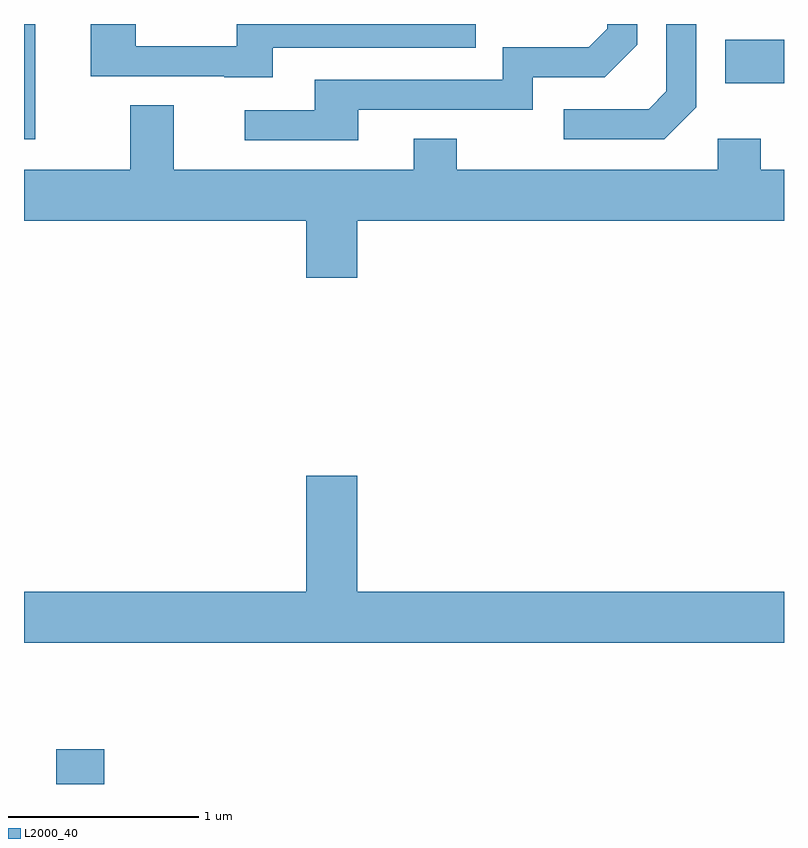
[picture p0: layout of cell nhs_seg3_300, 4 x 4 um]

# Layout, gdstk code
import gdstk
lib = gdstk.Library(unit=1e-6, precision=1e-09)
def R(c, l, rs):  # rectangles x0, y0, x1, y1
    for r in rs: c.add(gdstk.rectangle(r[:2], r[2:], *l))
def P(c, l, *ps):  # polygons
    for p in ps: c.add(gdstk.Polygon(p, *l))
L2000_40 = (2000, 40)

nhs_seg3_300 = lib.new_cell('nhs_seg3_300')
R(nhs_seg3_300, L2000_40, [(193.781,1171.892,194.034,1172.074), (193.611,1175.286,193.669,1175.892), (197.301,1175.581,197.611,1175.809)])
P(nhs_seg3_300, L2000_40, [(197.149,1175.454),(197.149,1175.892),(196.991,1175.892),(196.991,1175.537),(196.899,1175.444),(196.453,1175.444),(196.453,1175.286),(196.982,1175.286)],
  [(195.369,1175.441),(196.289,1175.441),(196.289,1175.611),(196.667,1175.611),(196.839,1175.784),(196.839,1175.892),(196.681,1175.892),(196.681,1175.867),(196.584,1175.769),(196.131,1175.769),(196.131,1175.599),(195.141,1175.599),(195.141,1175.439),(194.773,1175.439),(194.773,1175.281),(195.369,1175.281)],
  [(194.919,1175.766),(195.988,1175.766),(195.988,1175.892),(194.731,1175.892),(194.731,1175.774),(194.199,1175.774),(194.199,1175.892),(193.961,1175.892),(193.961,1175.616),(194.665,1175.616),(194.665,1175.611),(194.919,1175.611)],
  [(195.364,1174.856),(197.611,1174.856),(197.611,1175.124),(197.489,1175.124),(197.489,1175.289),(197.261,1175.289),(197.261,1175.124),(195.889,1175.124),(195.889,1175.289),(195.661,1175.289),(195.661,1175.124),(194.399,1175.124),(194.399,1175.464),(194.171,1175.464),(194.171,1175.124),(193.611,1175.124),(193.611,1174.856),(195.096,1174.856),(195.096,1174.556),(195.364,1174.556)],
  [(197.611,1172.904),(195.364,1172.904),(195.364,1173.514),(195.096,1173.514),(195.096,1172.904),(193.611,1172.904),(193.611,1172.636),(197.611,1172.636)])

lib.write_gds('nhs_seg3_300.gds')
